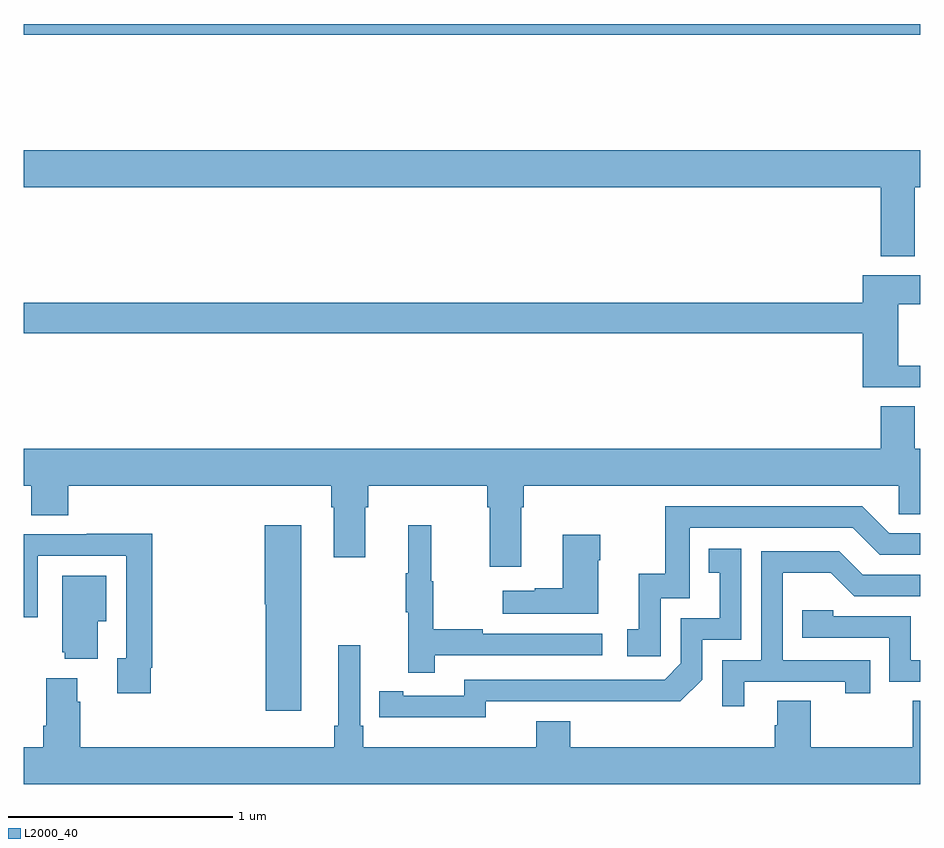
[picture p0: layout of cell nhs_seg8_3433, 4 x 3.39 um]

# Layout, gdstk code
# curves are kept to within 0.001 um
import gdstk
lib = gdstk.Library(unit=1e-6, precision=1e-09)
def R(c, l, rs):  # rectangles x0, y0, x1, y1
    for r in rs: c.add(gdstk.rectangle(r[:2], r[2:], *l))
def P(c, l, *ps):  # polygons
    for p in ps: c.add(gdstk.Polygon(p, *l))
L2000_40 = (2000, 40)

nhs_seg8_3433 = lib.new_cell('nhs_seg8_3433')
R(nhs_seg8_3433, L2000_40, [(323,1111.852,327,1111.9)])
P(nhs_seg8_3433, L2000_40, [(326.977,1111.172),(327,1111.172),(327,1111.336),(323,1111.336),(323,1111.172),(326.825,1111.172),(326.825,1110.863),(326.977,1110.863)],
  [(327,1110.375),(326.902,1110.375),(326.902,1110.65),(327,1110.65),(327,1110.778),(326.744,1110.778),(326.744,1110.656),(323,1110.656),(323,1110.52),(326.744,1110.52),(326.744,1110.279),(327,1110.279)],
  [(325.219,1109.744),(325.232,1109.744),(325.232,1109.84),(326.904,1109.84),(326.904,1109.713),(327,1109.713),(327,1110.004),(326.977,1110.004),(326.977,1110.194),(326.825,1110.194),(326.825,1110.004),(323,1110.004),(323,1109.84),(323.033,1109.84),(323.033,1109.707),(323.198,1109.707),(323.198,1109.84),(324.371,1109.84),(324.371,1109.744),(324.383,1109.744),(324.383,1109.52),(324.523,1109.52),(324.523,1109.744),(324.536,1109.744),(324.536,1109.84),(325.067,1109.84),(325.067,1109.744),(325.079,1109.744),(325.079,1109.478),(325.219,1109.478)],
  [(325.842,1109.337),(325.971,1109.337),(325.971,1109.652),(326.7,1109.652),(326.82,1109.532),(327,1109.532),(327,1109.628),(326.862,1109.628),(326.742,1109.748),(325.863,1109.748),(325.863,1109.446),(325.745,1109.446),(325.745,1109.199),(325.692,1109.199),(325.692,1109.079),(325.842,1109.079)],
  [(324.833,1109.082),(325.582,1109.082),(325.582,1109.178),(325.049,1109.178),(325.049,1109.198),(324.826,1109.198),(324.826,1109.412),(324.818,1109.412),(324.818,1109.662),(324.716,1109.662),(324.716,1109.449),(324.705,1109.449),(324.705,1109.275),(324.716,1109.275),(324.716,1109.004),(324.833,1109.004)],
  [(324.238,1109.662),(324.074,1109.662),(324.074,1109.31),(324.08,1109.31),(324.08,1108.836),(324.238,1108.836)],
  [(323.566,1109.026),(323.573,1109.026),(323.573,1109.624),(323.281,1109.624),(323.281,1109.622),(323,1109.622),(323,1109.253),(323.061,1109.253),(323.061,1109.526),(323.457,1109.526),(323.457,1109.07),(323.417,1109.07),(323.417,1108.914),(323.566,1108.914)],
  [(325.564,1109.507),(325.572,1109.507),(325.572,1109.62),(325.406,1109.62),(325.406,1109.381),(325.28,1109.381),(325.28,1109.371),(325.137,1109.371),(325.137,1109.267),(325.564,1109.267)],
  [(325.062,1108.878),(325.93,1108.877),(326.028,1108.974),(326.028,1109.151),(326.202,1109.151),(326.202,1109.557),(326.056,1109.557),(326.056,1109.451),(326.105,1109.451),(326.105,1109.247),(325.932,1109.247),(325.932,1109.046),(325.86,1108.974),(324.966,1108.974),(324.966,1108.902),(324.694,1108.902),(324.694,1108.922),(324.586,1108.922),(324.586,1108.806),(325.062,1108.805)],
  [(326.215,1108.965),(326.666,1108.965),(326.666,1108.914),(326.777,1108.914),(326.777,1109.061),(326.388,1109.061),(326.388,1109.45),(326.602,1109.45),(326.706,1109.346),(327,1109.346),(327,1109.442),(326.743,1109.442),(326.638,1109.547),(326.292,1109.547),(326.292,1109.061),(326.118,1109.061),(326.118,1108.854),(326.215,1108.854)],
  [(323.329,1109.234),(323.368,1109.234),(323.368,1109.437),(323.171,1109.437),(323.171,1109.097),(323.183,1109.097),(323.183,1109.066),(323.329,1109.066)],
  [(327,1109.061),(326.958,1109.061),(326.958,1109.256),(326.613,1109.256),(326.613,1109.283),(326.473,1109.283),(326.473,1109.16),(326.862,1109.16),(326.862,1108.965),(327,1108.965)],
  [(327,1108.88),(326.968,1108.88),(326.968,1108.672),(326.511,1108.672),(326.511,1108.88),(326.363,1108.88),(326.363,1108.77),(326.351,1108.77),(326.351,1108.672),(325.439,1108.672),(325.439,1108.789),(325.286,1108.789),(325.286,1108.672),(324.515,1108.672),(324.515,1108.768),(324.501,1108.768),(324.501,1109.128),(324.404,1109.128),(324.404,1108.768),(324.385,1108.768),(324.385,1108.672),(323.252,1108.672),(323.252,1108.874),(323.239,1108.874),(323.239,1108.981),(323.099,1108.981),(323.099,1108.768),(323.087,1108.768),(323.087,1108.672),(323,1108.672),(323,1108.508),(327,1108.508)])

lib.write_gds('nhs_seg8_3433.gds')
